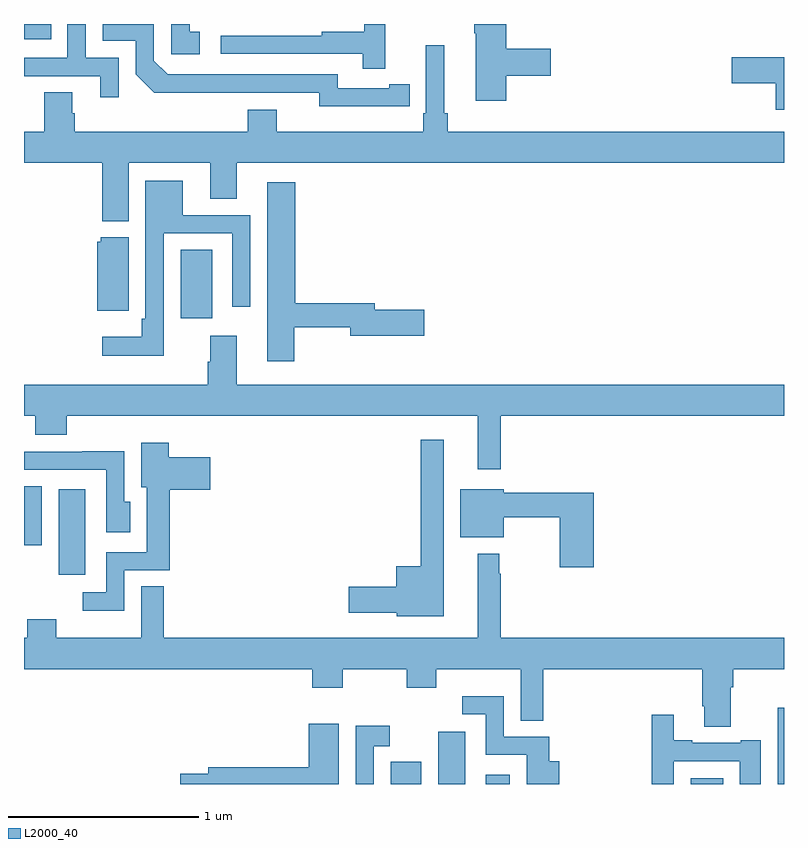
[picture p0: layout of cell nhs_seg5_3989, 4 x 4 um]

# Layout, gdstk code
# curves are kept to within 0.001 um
import gdstk
lib = gdstk.Library(unit=1e-6, precision=1e-09)
def R(c, l, rs):  # rectangles x0, y0, x1, y1
    for r in rs: c.add(gdstk.rectangle(r[:2], r[2:], *l))
def P(c, l, *ps):  # polygons
    for p in ps: c.add(gdstk.Polygon(p, *l))
L2000_40 = (2000, 40)

nhs_seg5_3989 = lib.new_cell('nhs_seg5_3989')
R(nhs_seg5_3989, L2000_40, [(346.931,878.799,347.092,878.916), (347.18,878.799,347.323,879.073), (347.43,878.799,347.557,878.848), (348.509,878.799,348.679,878.83), (348.966,878.799,349,879.2), (345.182,879.9,345.322,880.351), (345,880.056,345.094,880.367), (345.824,881.25,345.991,881.612), (345,882.72,345.143,882.799)])
P(nhs_seg5_3989, L2000_40, [(345.925,882.759),(345.872,882.759),(345.872,882.799),(345.774,882.799),(345.774,882.639),(345.925,882.639)],
  [(347.537,882.526),(347.773,882.526),(347.773,882.668),(347.537,882.668),(347.537,882.799),(347.371,882.799),(347.371,882.751),(347.378,882.751),(347.378,882.396),(347.537,882.396)],
  [(345.498,882.621),(345.324,882.621),(345.324,882.799),(345.228,882.799),(345.228,882.621),(345,882.621),(345,882.525),(345.401,882.525),(345.401,882.414),(345.498,882.414)],
  [(346.922,882.366),(347.03,882.366),(347.03,882.482),(346.922,882.482),(346.922,882.462),(346.65,882.462),(346.65,882.534),(345.756,882.534),(345.684,882.606),(345.684,882.799),(345.414,882.799),(345.414,882.711),(345.588,882.711),(345.588,882.534),(345.686,882.437),(346.554,882.438),(346.554,882.365)],
  [(346.901,882.799),(346.791,882.799),(346.791,882.758),(346.567,882.758),(346.567,882.738),(346.035,882.738),(346.035,882.642),(346.783,882.642),(346.783,882.564),(346.901,882.564)],
  [(345.266,882.33),(345.253,882.33),(345.253,882.44),(345.106,882.44),(345.106,882.232),(345,882.232),(345,882.068),(345.412,882.068),(345.412,881.762),(345.55,881.762),(345.55,882.068),(345.98,882.068),(345.98,881.878),(346.12,881.878),(346.12,882.068),(349,882.068),(349,882.232),(347.231,882.232),(347.231,882.328),(347.212,882.328),(347.212,882.688),(347.115,882.688),(347.115,882.328),(347.102,882.328),(347.102,882.232),(346.33,882.232),(346.33,882.349),(346.178,882.349),(346.178,882.232),(345.266,882.232)],
  [(349,882.623),(348.726,882.623),(348.726,882.488),(348.956,882.488),(348.956,882.347),(349,882.347)],
  [(345.735,881.697),(346.095,881.697),(346.095,881.31),(346.191,881.31),(346.191,881.793),(345.835,881.793),(345.835,881.974),(345.639,881.974),(345.639,881.248),(345.619,881.248),(345.619,881.152),(345.411,881.152),(345.411,881.054),(345.735,881.054)],
  [(346.422,881.202),(346.718,881.202),(346.718,881.159),(347.107,881.159),(347.107,881.294),(346.846,881.294),(346.846,881.33),(346.427,881.33),(346.427,881.965),(346.28,881.965),(346.28,881.025),(346.422,881.025)],
  [(345.55,881.677),(345.405,881.677),(345.405,881.652),(345.386,881.652),(345.386,881.291),(345.55,881.291)],
  [(347.509,880.736),(349,880.736),(349,880.9),(346.12,880.9),(346.12,881.158),(345.98,881.158),(345.98,881.021),(345.968,881.021),(345.968,880.9),(345,880.9),(345,880.736),(345.059,880.736),(345.059,880.637),(345.224,880.637),(345.224,880.736),(347.387,880.736),(347.387,880.455),(347.509,880.455)],
  [(347.209,880.612),(347.088,880.612),(347.088,879.946),(346.958,879.946),(346.958,879.836),(346.71,879.836),(346.71,879.701),(346.962,879.701),(346.962,879.683),(347.209,879.683)],
  [(345.528,879.924),(345.766,879.924),(345.766,880.349),(345.979,880.349),(345.979,880.519),(345.761,880.519),(345.761,880.594),(345.617,880.594),(345.617,880.361),(345.647,880.361),(345.647,880.02),(345.432,880.02),(345.432,879.807),(345.309,879.807),(345.309,879.71),(345.528,879.71)],
  [(345.559,880.284),(345.528,880.284),(345.528,880.55),(345.307,880.55),(345.307,880.548),(345,880.548),(345,880.452),(345.432,880.452),(345.432,880.125),(345.559,880.125)],
  [(347.999,880.333),(347.524,880.333),(347.524,880.351),(347.297,880.351),(347.297,880.097),(347.524,880.097),(347.524,880.204),(347.821,880.204),(347.821,879.939),(347.999,879.939)],
  [(348.721,879.308),(348.734,879.308),(348.734,879.404),(349,879.404),(349,879.568),(347.509,879.568),(347.509,879.905),(347.501,879.905),(347.501,880.012),(347.387,880.012),(347.387,879.568),(345.736,879.568),(345.736,879.839),(345.617,879.839),(345.617,879.568),(345.171,879.568),(345.171,879.667),(345.016,879.667),(345.016,879.568),(345,879.568),(345,879.404),(346.517,879.404),(346.517,879.305),(346.677,879.305),(346.677,879.404),(347.014,879.404),(347.014,879.305),(347.169,879.305),(347.169,879.404),(347.615,879.404),(347.615,879.133),(347.734,879.133),(347.734,879.404),(348.569,879.404),(348.569,879.208),(348.581,879.208),(348.581,879.1),(348.721,879.1)],
  [(347.816,878.92),(347.764,878.92),(347.764,879.048),(347.526,879.048),(347.526,879.262),(347.307,879.262),(347.307,879.165),(347.43,879.165),(347.43,878.952),(347.645,878.952),(347.645,878.799),(347.816,878.799)],
  [(348.42,878.919),(348.767,878.919),(348.767,878.799),(348.877,878.799),(348.877,879.028),(348.773,879.028),(348.773,879.015),(348.517,879.015),(348.517,879.028),(348.421,879.028),(348.421,879.163),(348.304,879.163),(348.304,878.799),(348.42,878.799)],
  [(346.657,879.115),(346.499,879.115),(346.499,878.888),(345.971,878.888),(345.971,878.852),(345.822,878.852),(345.822,878.799),(346.657,878.799)],
  [(346.842,878.997),(346.924,878.997),(346.924,879.106),(346.746,879.106),(346.746,878.799),(346.842,878.799)])

lib.write_gds('nhs_seg5_3989.gds')
